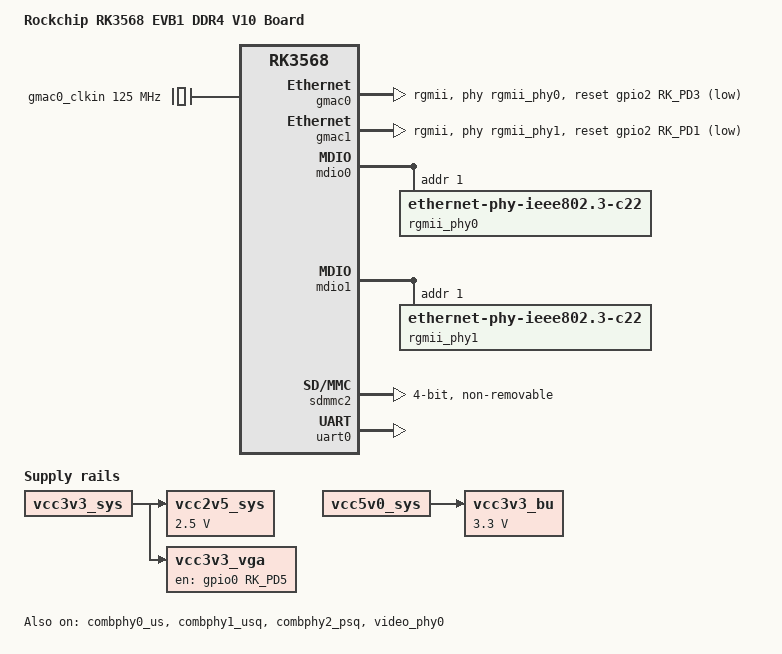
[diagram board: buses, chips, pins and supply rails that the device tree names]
// SPDX-License-Identifier: (GPL-2.0+ OR MIT)
/*
 * Copyright (c) 2020 Rockchip Electronics Co., Ltd.
 *
 */

/dts-v1/;

#include <dt-bindings/gpio/gpio.h>
#include <dt-bindings/pinctrl/rockchip.h>
#include "rk3568.dtsi"
#include "rk3568-evb.dtsi"

/ {
	model = "Rockchip RK3568 EVB1 DDR4 V10 Board";
	compatible = "rockchip,rk3568-evb1-ddr4-v10", "rockchip,rk3568";

	vcc2v5_sys: vcc2v5-ddr {
		compatible = "regulator-fixed";
		regulator-name = "vcc2v5-sys";
		regulator-always-on;
		regulator-boot-on;
		regulator-min-microvolt = <2500000>;
		regulator-max-microvolt = <2500000>;
		vin-supply = <&vcc3v3_sys>;
	};

	vcc3v3_vga: vcc3v3-vga {
		compatible = "regulator-fixed";
		regulator-name = "vcc3v3_vga";
		regulator-always-on;
		regulator-boot-on;
		gpio = <&gpio0 RK_PD5 GPIO_ACTIVE_HIGH>;
		enable-active-high;
		vin-supply = <&vcc3v3_sys>;
	};

	vcc3v3_bu: vcc3v3-bu {
		compatible = "regulator-fixed";
		regulator-name = "vcc3v3_bu";
		regulator-always-on;
		regulator-boot-on;
		regulator-min-microvolt = <3300000>;
		regulator-max-microvolt = <3300000>;
		vin-supply = <&vcc5v0_sys>;
	};
	
	gmac0_clkin: external-gmac0-clock {
		compatible = "fixed-clock";
		clock-frequency = <125000000>;
		clock-output-names = "gmac0_clkin";
		#clock-cells = <0>;
	};
};


&combphy0_us {
	status = "okay";
};

&combphy1_usq {
	status = "okay";
};

&combphy2_psq {
	status = "okay";
};
#if 0
&gmac0 {
	phy-mode = "rgmii";
	clock_in_out = "input";
	
	snps,reset-gpio = <&gpio2 RK_PD3 GPIO_ACTIVE_LOW>;
	snps,reset-active-low;
	/* Reset time is 20ms, 100ms for rtl8211f */
	snps,reset-delays-us = <0 20000 100000>;
	
	assigned-clocks = <&cru SCLK_GMAC0_RX_TX>, <&cru SCLK_GMAC0_RGMII_SPEED>, <&cru SCLK_GMAC0>;
	assigned-clock-parents = <&cru SCLK_GMAC0_RGMII_SPEED>,  <&cru SCLK_GMAC0> ,<&gmac0_clkin>;

	pinctrl-names = "default";
	pinctrl-0 = <&gmac0_miim
		     &gmac0_tx_bus2
		     &gmac0_rx_bus2
		     &gmac0_rgmii_clk
		     &gmac0_rgmii_bus
		     &gmac0_clkinout>;

	tx_delay = <0x4f>;
	rx_delay = <0x25>;


	phy-handle = <&rgmii_phy0>;
	status = "okay";
};

&gmac1 {
	phy-mode = "rgmii";
	clock_in_out = "input";
	
	snps,reset-gpio = <&gpio2 RK_PD1 GPIO_ACTIVE_LOW>;
	snps,reset-active-low;
	/* Reset time is 20ms, 100ms for rtl8211f */
	snps,reset-delays-us = <0 20000 100000>;

	assigned-clocks = <&cru SCLK_GMAC1_RX_TX>, <&cru SCLK_GMAC1_RGMII_SPEED>,<&cru SCLK_GMAC1>;
	assigned-clock-parents = <&cru SCLK_GMAC1_RGMII_SPEED>, <&cru SCLK_GMAC1> ,<&gmac1_clkin>;

	pinctrl-names = "default";
	pinctrl-0 = <&gmac1m1_miim
		     &gmac1m1_tx_bus2
		     &gmac1m1_rx_bus2
		     &gmac1m1_rgmii_clk
		     &gmac1m1_rgmii_bus
		     &gmac1m1_clkinout>;

	tx_delay = <0x4f>;
	rx_delay = <0x25>;
	
	phy-handle = <&rgmii_phy1>;
	status = "okay";
};
#endif


&gmac0 {
        phy-mode = "rgmii";
        clock_in_out = "input";

        snps,reset-gpio = <&gpio2 RK_PD3 GPIO_ACTIVE_LOW>;
        snps,reset-active-low;
        /* Reset time is 20ms, 100ms for rtl8211f */
        snps,reset-delays-us = <0 20000 100000>;

        assigned-clocks = <&cru SCLK_GMAC0_RX_TX>, <&cru SCLK_GMAC0>;
        assigned-clock-parents = <&cru SCLK_GMAC0_RGMII_SPEED>, <&cru CLK_MAC0_2TOP>;

        pinctrl-names = "default";
        pinctrl-0 = <&gmac0_miim
                     &gmac0_tx_bus2
                     &gmac0_rx_bus2
                     &gmac0_rgmii_clk
                     &gmac0_rgmii_bus>;

        tx_delay = <0x3c>;
        rx_delay = <0x2f>;

        phy-handle = <&rgmii_phy0>;
        status = "okay";
};

&gmac1 {
        phy-mode = "rgmii";
        clock_in_out = "input";

        snps,reset-gpio = <&gpio2 RK_PD1 GPIO_ACTIVE_LOW>;
        snps,reset-active-low;
        /* Reset time is 20ms, 100ms for rtl8211f */
        snps,reset-delays-us = <0 20000 100000>;

        assigned-clocks = <&cru SCLK_GMAC1_RX_TX>, <&cru SCLK_GMAC1>;
        assigned-clock-parents = <&cru SCLK_GMAC1_RGMII_SPEED>, <&cru CLK_MAC1_2TOP>;

        pinctrl-names = "default";
        pinctrl-0 = <&gmac1m1_miim
                     &gmac1m1_tx_bus2
                     &gmac1m1_rx_bus2
                     &gmac1m1_rgmii_clk
                     &gmac1m1_rgmii_bus>;

        tx_delay = <0x4f>;
        rx_delay = <0x26>;

        phy-handle = <&rgmii_phy1>;
        status = "okay";
};

&mdio0 {
	rgmii_phy0: phy@1 {
		compatible = "ethernet-phy-ieee802.3-c22";
		reg = <0x1>;
		status = "okay";
	};
};

&mdio1 {
	rgmii_phy1: phy@1 {
		compatible = "ethernet-phy-ieee802.3-c22";
		reg = <0x1>;
		status = "okay";
	};
};

&video_phy0 {
	status = "okay";
};

&video_phy1 {
	status = "disabled";
};

&pinctrl {	
	headphone {
		hp_det: hp-det {
			rockchip,pins = <3 RK_PC2 RK_FUNC_GPIO &pcfg_pull_down>;
		};
	};
};

&sdmmc2 {
	max-frequency = <150000000>;
	no-sd;
	no-mmc;
	bus-width = <4>;
	disable-wp;
	cap-sd-highspeed;
	cap-sdio-irq;
	keep-power-in-suspend;
	mmc-pwrseq = <&sdio_pwrseq>;
	non-removable;
	pinctrl-names = "default";
	pinctrl-0 = <&sdmmc2m0_bus4 &sdmmc2m0_cmd &sdmmc2m0_clk>;
	sd-uhs-sdr104;
	status = "okay";
};

&uart0 {
	status = "okay";
	pinctrl-names = "default";
	pinctrl-0 = <&uart0_xfer>;
};
